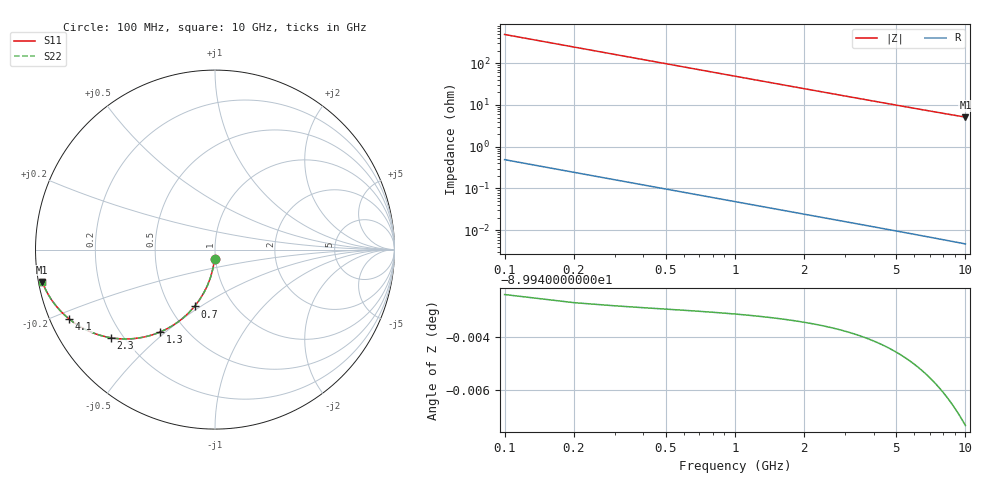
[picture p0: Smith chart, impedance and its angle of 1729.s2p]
# Hz S RI R 50.00
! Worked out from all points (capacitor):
!   100 points, 100 MHz to 10 GHz, reference 50 ohm
!   read as one part in shunt: C = 3.26 pF near 100 MHz
!   lowest |Z| = 5.12 ohm at 10 GHz (marker M1)
!   S11 on the Smith chart (normalised r, x): 100 MHz: 0.99, -0.10; 700 MHz: 0.66, -0.47; 1.3 GHz: 0.36, -0.48; 2.3 GHz: 0.15, -0.36; 4.1 GHz: 0.06, -0.23; 10 GHz: 0.01, -0.09
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1e8  -0.00266 -0.051  0.9973 -0.0512  0.9973 -0.0512  -0.00266 -0.051
2e8  -0.0105 -0.1013  0.9895 -0.1016  0.9895 -0.1016  -0.0105 -0.1013
3e8  -0.0232 -0.1499  0.9768 -0.1504  0.9768 -0.1504  -0.0232 -0.1499
4e8  -0.0405 -0.1963  0.9595 -0.1969  0.9595 -0.1969  -0.0405 -0.1963
5e8  -0.0618 -0.2398  0.9382 -0.2406  0.9382 -0.2406  -0.0618 -0.2398
6e8  -0.0865 -0.2801  0.9135 -0.2811  0.9135 -0.2811  -0.0865 -0.2801
7e8  -0.1141 -0.3169  0.8859 -0.318  0.8859 -0.318  -0.1141 -0.3169
8e8  -0.1439 -0.3498  0.8561 -0.3511  0.8561 -0.3511  -0.1439 -0.3498
1e9  -0.2077 -0.4044  0.7923 -0.406  0.7923 -0.406  -0.2077 -0.4044
1.3e9  -0.3066 -0.4595  0.6934 -0.4616  0.6934 -0.4616  -0.3066 -0.4595
1.5e9  -0.3702 -0.4812  0.6298 -0.4835  0.6298 -0.4835  -0.3702 -0.4812
1.8e9  -0.4579 -0.4963  0.542 -0.4992  0.542 -0.4992  -0.4579 -0.4963
2e9  -0.5102 -0.4978  0.4898 -0.501  0.4898 -0.501  -0.5102 -0.4978
2.3e9  -0.579 -0.4914  0.421 -0.495  0.421 -0.495  -0.579 -0.4914
2.8e9  -0.6703 -0.4674  0.3297 -0.4718  0.3297 -0.4718  -0.6703 -0.4674
3.4e9  -0.7493 -0.4302  0.2507 -0.4356  0.2507 -0.4356  -0.7493 -0.4302
4.1e9  -0.8126 -0.3864  0.1874 -0.3931  0.1874 -0.3931  -0.8126 -0.3864
5.1e9  -0.87 -0.3317  0.13 -0.34  0.13 -0.34  -0.87 -0.3317
5.8e9  -0.8963 -0.2996  0.1036 -0.3091  0.1036 -0.3091  -0.8963 -0.2996
6.7e9  -0.9202 -0.2649  0.0797 -0.276  0.0797 -0.276  -0.9202 -0.2649
8.4e9  -0.9477 -0.2149  0.0521 -0.2289  0.0521 -0.2289  -0.9477 -0.2149
1e10  -0.9626 -0.1805  0.0372 -0.1973  0.0372 -0.1973  -0.9626 -0.1805
